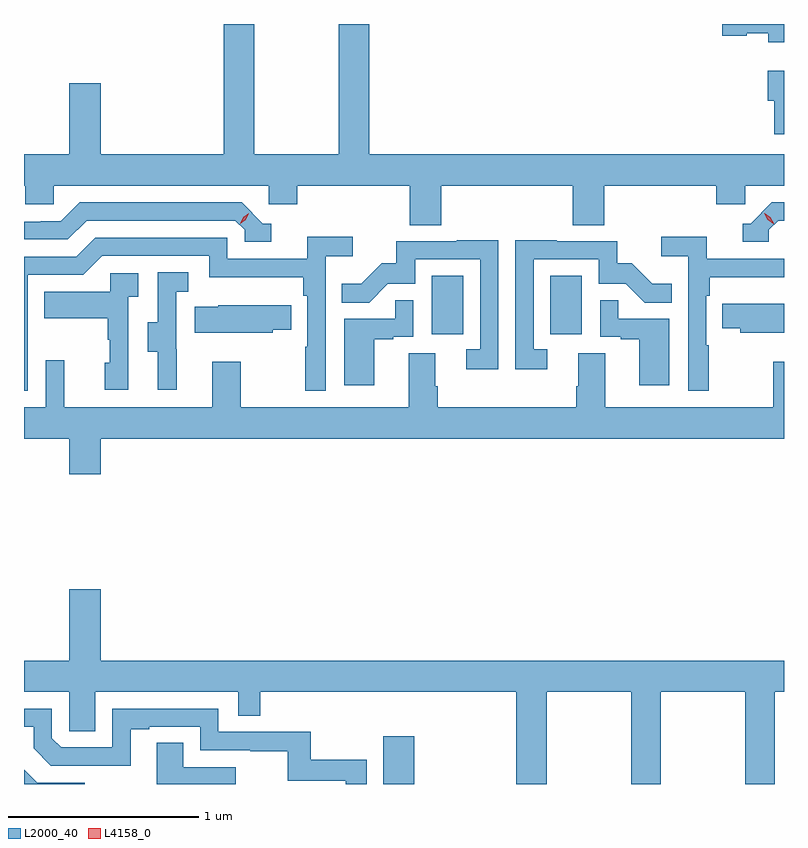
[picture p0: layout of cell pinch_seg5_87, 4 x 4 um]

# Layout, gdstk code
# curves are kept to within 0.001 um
import gdstk
lib = gdstk.Library(unit=1e-6, precision=1e-09)
def R(c, l, rs):  # rectangles x0, y0, x1, y1
    for r in rs: c.add(gdstk.rectangle(r[:2], r[2:], *l))
def P(c, l, *ps):  # polygons
    for p in ps: c.add(gdstk.Polygon(p, *l))
L2000_40 = (2000, 40)
L4158_0 = (4158, 0)

pinch_seg5_87 = lib.new_cell('pinch_seg5_87')
R(pinch_seg5_87, L2000_40, [(1029.797,894.902,1029.958,895.153), (1030.052,897.27,1030.216,897.577), (1030.676,897.27,1030.84,897.577)])
P(pinch_seg5_87, L2000_40, [(1030.1,898.052),(1030.793,898.052),(1030.793,897.844),(1030.958,897.844),(1030.958,898.052),(1031.549,898.052),(1031.549,897.954),(1031.7,897.954),(1031.7,898.052),(1031.905,898.052),(1031.905,898.216),(1029.722,898.216),(1029.722,898.902),(1029.562,898.902),(1029.562,898.216),(1029.117,898.216),(1029.117,898.902),(1028.957,898.902),(1028.957,898.216),(1028.308,898.216),(1028.308,898.591),(1028.144,898.591),(1028.144,898.216),(1027.905,898.216),(1027.905,898.052),(1027.911,898.052),(1027.911,897.954),(1028.061,897.954),(1028.061,898.052),(1029.192,898.052),(1029.192,897.954),(1029.344,897.954),(1029.344,898.052),(1029.935,898.052),(1029.935,897.844),(1030.1,897.844)],
  [(1031.905,898.902),(1031.58,898.902),(1031.58,898.841),(1031.709,898.841),(1031.709,898.853),(1031.822,898.853),(1031.822,898.805),(1031.905,898.805)],
  [(1031.905,898.657),(1031.82,898.657),(1031.82,898.499),(1031.854,898.499),(1031.854,898.323),(1031.905,898.323)],
  [(1029.205,897.852),(1029.162,897.852),(1029.051,897.963),(1028.198,897.963),(1028.099,897.864),(1027.992,897.864),(1027.992,897.861),(1027.905,897.861),(1027.905,897.768),(1028.136,897.768),(1028.235,897.867),(1029.018,897.867),(1029.066,897.819),(1029.066,897.756),(1029.205,897.756)],
  [(1031.826,897.819),(1031.874,897.867),(1031.905,897.867),(1031.905,897.963),(1031.841,897.963),(1031.73,897.852),(1031.687,897.852),(1031.687,897.756),(1031.826,897.756)],
  [(1031.509,897.212),(1031.496,897.212),(1031.496,897.473),(1031.513,897.473),(1031.513,897.569),(1031.905,897.569),(1031.905,897.666),(1031.498,897.666),(1031.498,897.782),(1031.259,897.782),(1031.259,897.68),(1031.4,897.68),(1031.4,896.973),(1031.509,896.973)],
  [(1027.926,897.582),(1028.217,897.582),(1028.316,897.681),(1028.88,897.681),(1028.88,897.569),(1029.376,897.569),(1029.376,897.473),(1029.396,897.473),(1029.396,897.203),(1029.384,897.203),(1029.384,896.973),(1029.492,896.973),(1029.492,897.68),(1029.634,897.68),(1029.634,897.782),(1029.395,897.782),(1029.395,897.666),(1028.976,897.666),(1028.976,897.777),(1028.279,897.777),(1028.18,897.678),(1027.905,897.678),(1027.905,896.973),(1027.926,896.973)],
  [(1030.401,897.764),(1030.183,897.764),(1030.183,897.759),(1029.865,897.759),(1029.865,897.642),(1029.788,897.642),(1029.681,897.535),(1029.577,897.535),(1029.577,897.436),(1029.721,897.436),(1029.819,897.534),(1029.963,897.534),(1029.963,897.663),(1030.305,897.663),(1030.305,897.189),(1030.233,897.189),(1030.233,897.084),(1030.401,897.084)],
  [(1030.66,897.189),(1030.587,897.189),(1030.587,897.663),(1030.929,897.663),(1030.929,897.534),(1031.073,897.534),(1031.171,897.436),(1031.315,897.436),(1031.315,897.535),(1031.211,897.535),(1031.104,897.642),(1031.028,897.642),(1031.028,897.759),(1030.709,897.759),(1030.709,897.764),(1030.491,897.764),(1030.491,897.084),(1030.66,897.084)],
  [(1028.708,897.189),(1028.706,897.189),(1028.706,897.493),(1028.77,897.493),(1028.77,897.596),(1028.61,897.596),(1028.61,897.333),(1028.555,897.333),(1028.555,897.178),(1028.609,897.178),(1028.609,896.976),(1028.708,896.976)],
  [(1028.454,897.467),(1028.506,897.467),(1028.506,897.591),(1028.358,897.591),(1028.358,897.493),(1028.011,897.493),(1028.011,897.353),(1028.346,897.353),(1028.346,897.239),(1028.356,897.239),(1028.356,897.12),(1028.33,897.12),(1028.33,896.976),(1028.454,896.976)],
  [(1031.302,897.351),(1031.033,897.351),(1031.033,897.449),(1030.938,897.449),(1030.938,897.255),(1031.045,897.255),(1031.045,897.243),(1031.144,897.243),(1031.144,897),(1031.302,897)],
  [(1029.748,897.243),(1029.848,897.243),(1029.848,897.255),(1029.954,897.255),(1029.954,897.449),(1029.859,897.449),(1029.859,897.351),(1029.59,897.351),(1029.59,897),(1029.748,897)],
  [(1031.905,897.43),(1031.692,897.43),(1031.692,897.429),(1031.581,897.429),(1031.581,897.301),(1031.675,897.301),(1031.675,897.278),(1031.905,897.278)],
  [(1029.213,897.292),(1029.311,897.292),(1029.311,897.421),(1028.928,897.421),(1028.928,897.415),(1028.803,897.415),(1028.803,897.278),(1029.213,897.278)],
  [(1028.308,896.72),(1031.905,896.72),(1031.905,897.124),(1031.848,897.124),(1031.848,896.884),(1030.963,896.884),(1030.963,897.17),(1030.823,897.17),(1030.823,896.996),(1030.811,896.996),(1030.811,896.884),(1030.082,896.884),(1030.082,896.996),(1030.069,896.996),(1030.069,897.17),(1029.929,897.17),(1029.929,896.884),(1029.045,896.884),(1029.045,897.124),(1028.897,897.124),(1028.897,896.884),(1028.117,896.884),(1028.117,897.133),(1028.019,897.133),(1028.019,896.884),(1027.905,896.884),(1027.905,896.72),(1028.144,896.72),(1028.144,896.532),(1028.308,896.532)],
  [(1030.656,895.388),(1031.101,895.388),(1031.101,894.902),(1031.256,894.902),(1031.256,895.388),(1031.701,895.388),(1031.701,894.902),(1031.856,894.902),(1031.856,895.388),(1031.905,895.388),(1031.905,895.552),(1028.308,895.552),(1028.308,895.927),(1028.144,895.927),(1028.144,895.552),(1027.905,895.552),(1027.905,895.388),(1028.142,895.388),(1028.142,895.18),(1028.281,895.18),(1028.281,895.388),(1029.033,895.388),(1029.033,895.261),(1029.149,895.261),(1029.149,895.388),(1030.496,895.388),(1030.496,894.902),(1030.656,894.902)],
  [(1029.708,895.03),(1029.415,895.03),(1029.415,895.176),(1028.928,895.176),(1028.928,895.299),(1028.37,895.299),(1028.37,895.095),(1028.1,895.095),(1028.052,895.143),(1028.052,895.299),(1027.905,895.299),(1027.905,895.203),(1027.956,895.203),(1027.956,895.089),(1028.046,894.999),(1028.467,894.998),(1028.467,895.191),(1028.563,895.191),(1028.563,895.203),(1028.832,895.203),(1028.832,895.08),(1029.097,895.08),(1029.097,895.075),(1029.294,895.075),(1029.294,894.92),(1029.599,894.92),(1029.599,894.902),(1029.708,894.902)],
  [(1029.02,894.99),(1028.743,894.99),(1028.743,895.118),(1028.603,895.118),(1028.603,894.902),(1029.02,894.902)],
  [(1028.224,894.909),(1027.974,894.909),(1027.905,894.978),(1027.905,894.902),(1028.224,894.902)])
P(pinch_seg5_87, L4158_0, [(1029.043,897.852),(1029.043,897.853),(1029.058,897.885),(1029.089,897.905),(1029.089,897.905),(1029.089,897.905),(1029.073,897.872),(1029.043,897.852)],
  [(1031.849,897.852),(1031.819,897.872),(1031.802,897.905),(1031.802,897.905),(1031.803,897.905),(1031.833,897.885),(1031.85,897.853),(1031.85,897.852)])

lib.write_gds('pinch_seg5_87.gds')
